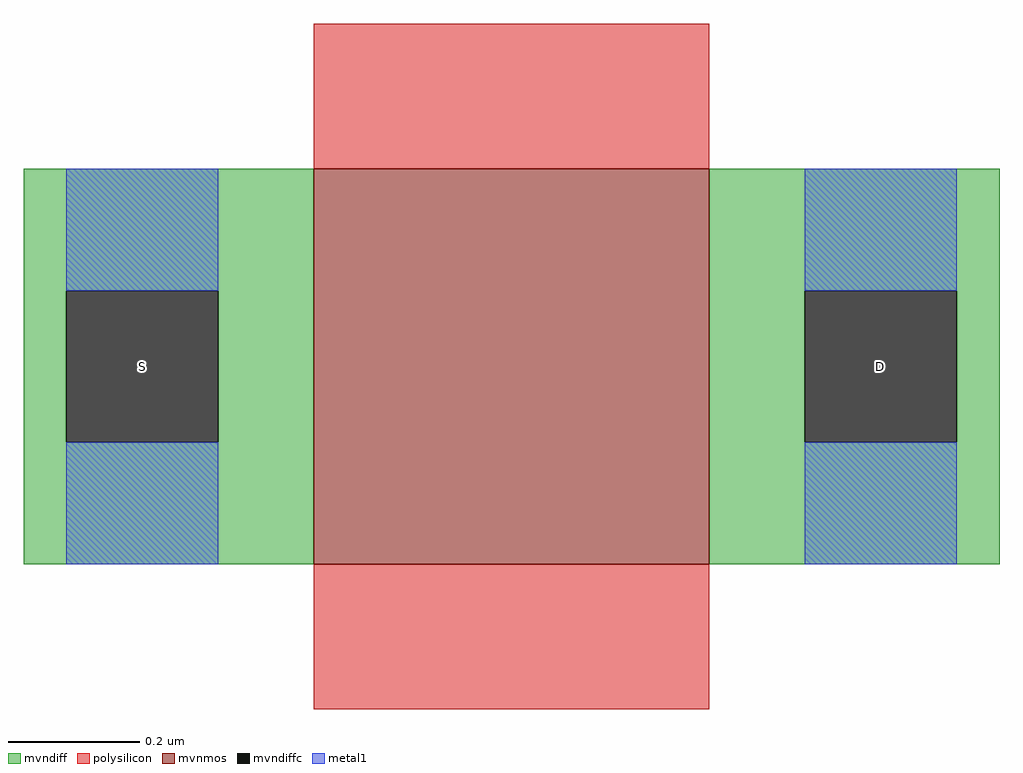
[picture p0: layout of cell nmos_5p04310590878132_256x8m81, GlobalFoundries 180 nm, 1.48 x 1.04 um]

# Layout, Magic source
magic
tech gf180mcuC
magscale 1 10
<< mvnmos >>
rect 0 0 120 120
<< mvndiff >>
rect -88 83 0 120
rect -88 37 -75 83
rect -29 37 0 83
rect -88 0 0 37
rect 120 83 208 120
rect 120 37 149 83
rect 195 37 208 83
rect 120 0 208 37
<< mvndiffc >>
rect -75 37 -29 83
rect 149 37 195 83
<< polysilicon >>
rect 0 120 120 164
rect 0 -44 120 0
<< metal1 >>
rect -75 83 -29 120
rect -75 0 -29 37
rect 149 83 195 120
rect 149 0 195 37
<< labels >>
flabel metal1 s -52 60 -52 60 0 FreeSans 200 0 0 0 S
flabel metal1 s 172 60 172 60 0 FreeSans 200 0 0 0 D
<< properties >>
string GDS_END 350600
string GDS_FILE $PDKPATH/libs.ref/gf180mcu_fd_ip_sram/gds/gf180mcu_fd_ip_sram__sram256x8m8wm1.gds
string GDS_START 349576
<< end >>
